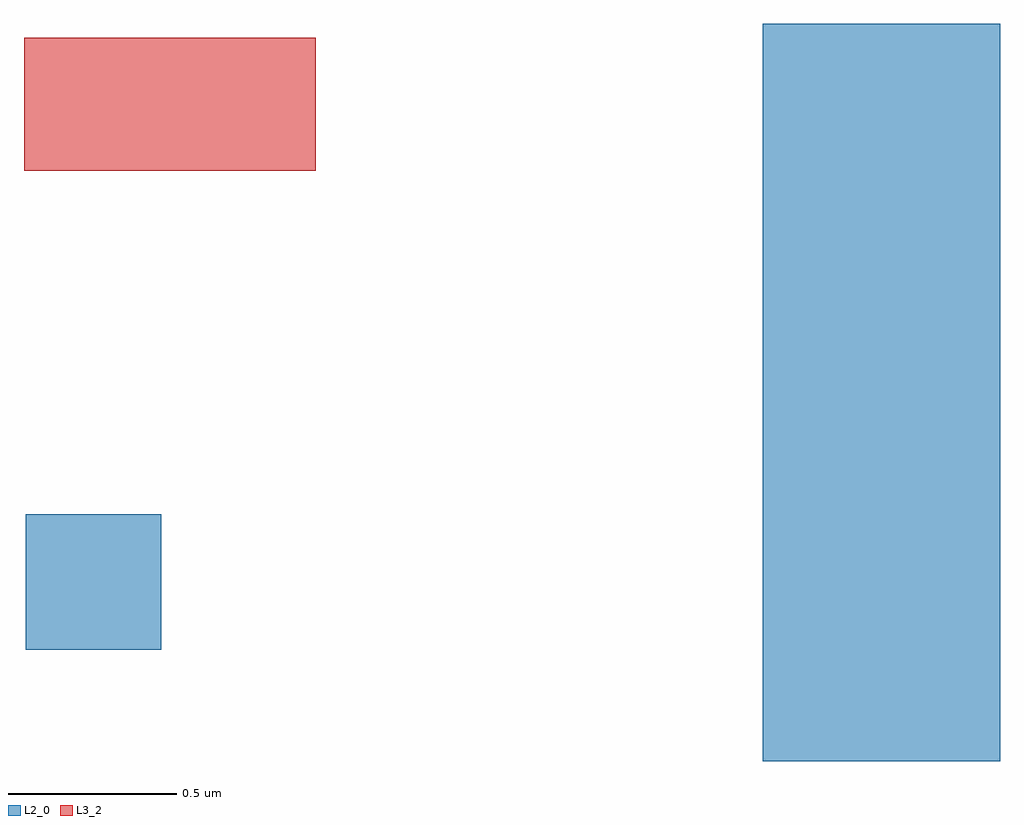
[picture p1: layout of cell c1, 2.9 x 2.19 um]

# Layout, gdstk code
import gdstk
lib = gdstk.Library(unit=1e-6, precision=2.5e-09)
def R(c, l, rs):  # rectangles x0, y0, x1, y1
    for r in rs: c.add(gdstk.rectangle(r[:2], r[2:], *l))
L2_0 = (2, 0)
L3_2 = (3, 2)

c_c1 = lib.new_cell('c1')
R(c_c1, L2_0, [(2.7025,1.9475,3.4075,2.6525), (0.5125,2.28,0.915,2.6825), (2.7025,2.535,3.4075,3.24), (2.7025,3.0225,3.4075,3.7275), (2.7025,3.435,3.4075,4.14)])
R(c_c1, L3_2, [(0.5075,3.7025,1.375,4.0975)])

lib.write_gds('c1.gds')
